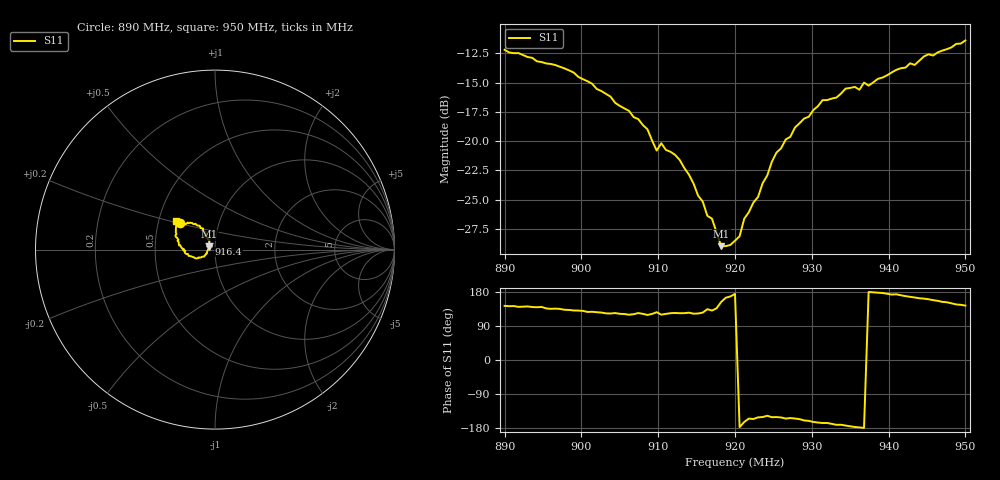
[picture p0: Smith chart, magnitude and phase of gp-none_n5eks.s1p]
# HZ S RI R 50
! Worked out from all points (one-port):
!   101 points, 890 MHz to 950 MHz, reference 50 ohm
!   lowest |S11| = -29.0 dB at 918.2 MHz (marker M1), VSWR 1.07, Z = 46.9 + j1.51 ohm
!   |S11| at or under -10 dB: start of sweep to end of sweep
!   S11 on the Smith chart (normalised r, x): 890 MHz: 0.65, +0.20; 916.4 MHz: 0.93, +0.06; 950 MHz: 0.62, +0.21
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8.9e8  -0.1955 0.148
8.978e8  -0.1381 0.1505
9.014e8  -0.1062 0.1399
9.05e8  -0.0746 0.12
9.086e8  -0.0543 0.0984
9.098e8  -0.0538 0.0736
9.104e8  -0.0485 0.0852
9.128e8  -0.0459 0.0694
9.158e8  -0.0318 0.0452
9.164e8  -0.0334 0.0345
9.17e8  -0.0304 0.0355
9.182e8  -0.0318 0.0161
9.2e8  -0.0375 0.00371
9.206e8  -0.0393 -0.00198
9.212e8  -0.0448 -0.0132
9.23e8  -0.0508 -0.0277
9.254e8  -0.0779 -0.0439
9.278e8  -0.103 -0.0494
9.314e8  -0.1453 -0.0354
9.332e8  -0.1514 -0.0239
9.35e8  -0.1679 -0.0147
9.362e8  -0.1655 -0.00629
9.368e8  -0.1777 -0.00254
9.374e8  -0.1724 0.00162
9.428e8  -0.2089 0.0496
9.434e8  -0.2041 0.0548
9.446e8  -0.2184 0.0713
9.5e8  -0.2161 0.1596
